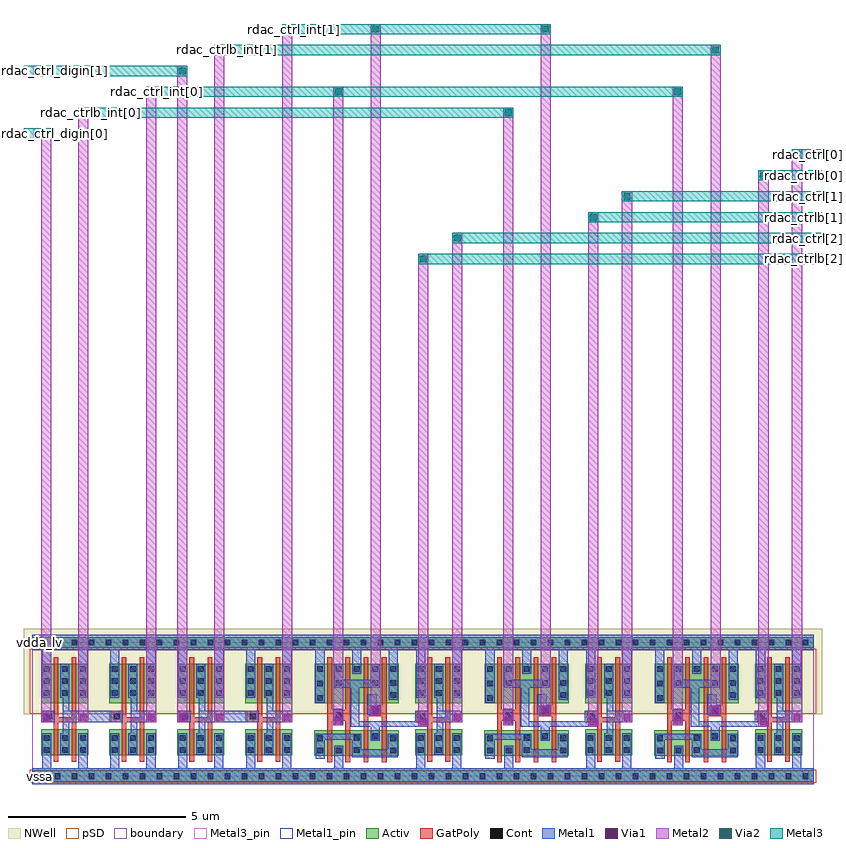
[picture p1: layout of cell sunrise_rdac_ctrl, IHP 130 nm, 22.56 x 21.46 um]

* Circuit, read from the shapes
.subckt sunrise_rdac_ctrl rdac_ctrl[0] rdac_ctrl[1] rdac_ctrl[2] rdac_ctrl_digin[0] rdac_ctrl_digin[1] rdac_ctrl_int[0] rdac_ctrl_int[1] rdac_ctrlb[0] rdac_ctrlb[1] rdac_ctrlb[2] rdac_ctrlb_int[0] rdac_ctrlb_int[1] vdda_lv vssa
XM1 rdac_ctrlb_int[0] rdac_ctrl_digin[0] vssa vssa sg13_lv_nmos w=0.74u l=0.13u m=2
XM2 rdac_ctrl_int[0] rdac_ctrlb_int[0] vssa vssa sg13_lv_nmos w=0.74u l=0.13u m=2
XM3 rdac_ctrlb_int[1] rdac_ctrl_digin[1] vssa vssa sg13_lv_nmos w=0.74u l=0.13u m=2
XM4 rdac_ctrl_int[1] rdac_ctrlb_int[1] vssa vssa sg13_lv_nmos w=0.74u l=0.13u m=2
XM5 vssa rdac_ctrl_int[0] n1 vssa sg13_lv_nmos w=0.72u l=0.13u m=2
XM6 rdac_ctrlb[2] rdac_ctrl_int[1] n1 vssa sg13_lv_nmos w=0.72u l=0.13u m=2
XM7 rdac_ctrl[2] rdac_ctrlb[2] vssa vssa sg13_lv_nmos w=0.74u l=0.13u m=2
XM8 vssa rdac_ctrlb_int[0] n2 vssa sg13_lv_nmos w=0.72u l=0.13u m=2
XM9 rdac_ctrlb[1] rdac_ctrl_int[1] n2 vssa sg13_lv_nmos w=0.72u l=0.13u m=2
XM10 rdac_ctrl[1] rdac_ctrlb[1] vssa vssa sg13_lv_nmos w=0.74u l=0.13u m=2
XM11 vssa rdac_ctrl_int[0] n3 vssa sg13_lv_nmos w=0.72u l=0.13u m=2
XM12 rdac_ctrlb[0] rdac_ctrlb_int[1] n3 vssa sg13_lv_nmos w=0.72u l=0.13u m=2
XM13 rdac_ctrl[0] rdac_ctrlb[0] vssa vssa sg13_lv_nmos w=0.74u l=0.13u m=2
XM14 rdac_ctrlb_int[0] rdac_ctrl_digin[0] vdda_lv vdda_lv sg13_lv_pmos w=1.12u l=0.13u m=2
XM15 rdac_ctrl_int[0] rdac_ctrlb_int[0] vdda_lv vdda_lv sg13_lv_pmos w=1.12u l=0.13u m=2
XM16 rdac_ctrlb_int[1] rdac_ctrl_digin[1] vdda_lv vdda_lv sg13_lv_pmos w=1.12u l=0.13u m=2
XM17 rdac_ctrl_int[1] rdac_ctrlb_int[1] vdda_lv vdda_lv sg13_lv_pmos w=1.12u l=0.13u m=2
XM18 rdac_ctrlb[2] rdac_ctrl_int[0] vdda_lv vdda_lv sg13_lv_pmos w=1.12u l=0.13u m=2
XM19 rdac_ctrlb[2] rdac_ctrl_int[1] vdda_lv vdda_lv sg13_lv_pmos w=1.12u l=0.13u m=2
XM20 rdac_ctrl[2] rdac_ctrlb[2] vdda_lv vdda_lv sg13_lv_pmos w=1.12u l=0.13u m=2
XM21 rdac_ctrlb[1] rdac_ctrlb_int[0] vdda_lv vdda_lv sg13_lv_pmos w=1.12u l=0.13u m=2
XM22 rdac_ctrlb[1] rdac_ctrl_int[1] vdda_lv vdda_lv sg13_lv_pmos w=1.12u l=0.13u m=2
XM23 rdac_ctrl[1] rdac_ctrlb[1] vdda_lv vdda_lv sg13_lv_pmos w=1.12u l=0.13u m=2
XM24 rdac_ctrlb[0] rdac_ctrl_int[0] vdda_lv vdda_lv sg13_lv_pmos w=1.12u l=0.13u m=2
XM25 rdac_ctrlb[0] rdac_ctrlb_int[1] vdda_lv vdda_lv sg13_lv_pmos w=1.12u l=0.13u m=2
XM26 rdac_ctrl[0] rdac_ctrlb[0] vdda_lv vdda_lv sg13_lv_pmos w=1.12u l=0.13u m=2
.ends

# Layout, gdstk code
from math import pi, radians
import gdstk
lib = gdstk.Library(unit=1e-6, precision=1e-09)
def R(c, l, rs):  # rectangles x0, y0, x1, y1
    for r in rs: c.add(gdstk.rectangle(r[:2], r[2:], *l))
def A(c, l, x, y, w, h, nx, ny, dx, dy):  # array of equal rectangles
    R(c, l, [(x+i*dx, y+j*dy, x+i*dx+w, y+j*dy+h) for i in range(nx) for j in range(ny)])
def P(c, l, *ps):  # polygons
    for p in ps: c.add(gdstk.Polygon(p, *l))
Activ = (1, 0)
GatPoly = (5, 0)
Cont = (6, 0)
Metal1 = (8, 0)
Metal1_pin = (8, 2)
Metal2 = (10, 0)
pSD = (14, 0)
Via1 = (19, 0)
Via2 = (29, 0)
Metal3 = (30, 0)
Metal3_pin = (30, 2)
NWell = (31, 0)
boundary = (189, 4)

sg13cmos5l_inv_2_7 = lib.new_cell('sg13cmos5l_inv_2$7')
R(sg13cmos5l_inv_2_7, Activ, [(0,-0.15,1.92,0.15), (0.265,0.59,1.585,1.33), (0.265,2.06,1.59,3.18), (0,3.63,1.92,3.93)])
P(sg13cmos5l_inv_2_7, GatPoly, [(0.605,0.41),(0.605,1.52),(0.305,1.52),(0.305,1.85),(0.605,1.85),(0.605,3.36),(0.735,3.36),(0.735,1.67),(1.115,1.67),(1.115,3.36),(1.245,3.36),(1.245,0.41),(1.115,0.41),(1.115,1.52),(0.735,1.52),(0.735,0.41)])
A(sg13cmos5l_inv_2_7, Cont, 0.335, 0.66, 0.16, 0.16, 3, 2, 0.51, 0.34)
A(sg13cmos5l_inv_2_7, Cont, 0.335, 2.27, 0.16, 0.16, 1, 3, 0, 0.34)
A(sg13cmos5l_inv_2_7, Cont, 0.845, 2.27, 0.16, 0.16, 1, 3, 0, 0.34)
A(sg13cmos5l_inv_2_7, Cont, 1.36, 2.27, 0.16, 0.16, 1, 3, 0, 0.34)
R(sg13cmos5l_inv_2_7, Cont, [(0.16,-0.08,0.32,0.08), (0.16,-0.08,0.32,0.08), (0.64,-0.08,0.8,0.08), (0.64,-0.08,0.8,0.08), (1.12,-0.08,1.28,0.08), (1.12,-0.08,1.28,0.08), (1.6,-0.08,1.76,0.08), (1.6,-0.08,1.76,0.08), (0.39,1.605,0.55,1.765), (0.16,3.7,0.32,3.86), (0.16,3.7,0.32,3.86), (0.64,3.7,0.8,3.86), (0.64,3.7,0.8,3.86), (1.12,3.7,1.28,3.86), (1.12,3.7,1.28,3.86), (1.6,3.7,1.76,3.86), (1.6,3.7,1.76,3.86)])
R(sg13cmos5l_inv_2_7, Metal1, [(0.255,1.52,0.635,1.85)])
P(sg13cmos5l_inv_2_7, Metal1, [(0.285,2.22),(0.285,3.56),(0,3.56),(0,4),(1.92,4),(1.92,3.56),(1.57,3.56),(1.57,2.22),(1.31,2.22),(1.31,3.56),(0.545,3.56),(0.545,2.22)],
  [(0,-0.22),(0,0.22),(0.285,0.22),(0.285,1.21),(0.545,1.21),(0.545,0.22),(1.305,0.22),(1.305,1.21),(1.565,1.21),(1.565,0.22),(1.92,0.22),(1.92,-0.22)],
  [(0.795,0.61),(0.795,1.21),(0.87,1.21),(0.87,2.22),(0.795,2.22),(0.795,3.18),(1.055,3.18),(1.055,1.85),(1.59,1.85),(1.59,1.52),(1.055,1.52),(1.055,0.61)])
R(sg13cmos5l_inv_2_7, Metal1_pin, [(0,-0.22,1.92,0.22), (0.255,1.52,0.635,1.85), (0.87,1.52,1.59,1.85), (0,3.56,1.92,4)])
R(sg13cmos5l_inv_2_7, pSD, [(-0.07,-0.18,1.99,0.18), (-0.07,1.76,1.99,3.6)])
R(sg13cmos5l_inv_2_7, NWell, [(-0.24,1.75,2.16,4.17)])
R(sg13cmos5l_inv_2_7, boundary, [(0,0,1.92,3.78)])
sg13cmos5l_inv_2_7.add(gdstk.Label('VSS', (0.89,0), layer=8, texttype=25))
sg13cmos5l_inv_2_7.add(gdstk.Label('VDD', (0.935,3.785), layer=8, texttype=25))
sg13cmos5l_inv_2_7.add(gdstk.Label('Y', (1.44,1.68), layer=8, texttype=25))
sg13cmos5l_inv_2_7.add(gdstk.Label('A', (0.48,1.68), layer=8, texttype=25))

via_stack_2 = lib.new_cell('via_stack$2')
R(via_stack_2, Metal1, [(-0.145,-0.145,0.145,0.145)])
R(via_stack_2, Metal2, [(-0.145,-0.145,0.145,0.145)])
R(via_stack_2, Via1, [(-0.095,-0.095,0.095,0.095)])

sg13cmos5l_inv_2_1_2 = lib.new_cell('sg13cmos5l_inv_2$1$2')
R(sg13cmos5l_inv_2_1_2, Activ, [(0,-0.15,1.92,0.15), (0.265,0.59,1.585,1.33), (0.265,2.06,1.59,3.18), (0,3.63,1.92,3.93)])
P(sg13cmos5l_inv_2_1_2, GatPoly, [(0.605,0.41),(0.605,1.52),(0.305,1.52),(0.305,1.85),(0.605,1.85),(0.605,3.36),(0.735,3.36),(0.735,1.67),(1.115,1.67),(1.115,3.36),(1.245,3.36),(1.245,0.41),(1.115,0.41),(1.115,1.52),(0.735,1.52),(0.735,0.41)])
A(sg13cmos5l_inv_2_1_2, Cont, 0.335, 0.66, 0.16, 0.16, 3, 2, 0.51, 0.34)
A(sg13cmos5l_inv_2_1_2, Cont, 0.335, 2.27, 0.16, 0.16, 1, 3, 0, 0.34)
A(sg13cmos5l_inv_2_1_2, Cont, 0.845, 2.27, 0.16, 0.16, 1, 3, 0, 0.34)
A(sg13cmos5l_inv_2_1_2, Cont, 1.36, 2.27, 0.16, 0.16, 1, 3, 0, 0.34)
R(sg13cmos5l_inv_2_1_2, Cont, [(0.16,-0.08,0.32,0.08), (0.16,-0.08,0.32,0.08), (0.64,-0.08,0.8,0.08), (0.64,-0.08,0.8,0.08), (1.12,-0.08,1.28,0.08), (1.12,-0.08,1.28,0.08), (1.6,-0.08,1.76,0.08), (1.6,-0.08,1.76,0.08), (0.39,1.605,0.55,1.765), (0.16,3.7,0.32,3.86), (0.16,3.7,0.32,3.86), (0.64,3.7,0.8,3.86), (0.64,3.7,0.8,3.86), (1.12,3.7,1.28,3.86), (1.12,3.7,1.28,3.86), (1.6,3.7,1.76,3.86), (1.6,3.7,1.76,3.86)])
R(sg13cmos5l_inv_2_1_2, Metal1, [(0.255,1.52,0.635,1.85)])
P(sg13cmos5l_inv_2_1_2, Metal1, [(0.285,2.22),(0.285,3.56),(0,3.56),(0,4),(1.92,4),(1.92,3.56),(1.57,3.56),(1.57,2.22),(1.31,2.22),(1.31,3.56),(0.545,3.56),(0.545,2.22)],
  [(0,-0.22),(0,0.22),(0.285,0.22),(0.285,1.21),(0.545,1.21),(0.545,0.22),(1.305,0.22),(1.305,1.21),(1.565,1.21),(1.565,0.22),(1.92,0.22),(1.92,-0.22)],
  [(0.795,0.61),(0.795,1.21),(0.87,1.21),(0.87,2.22),(0.795,2.22),(0.795,3.18),(1.055,3.18),(1.055,1.85),(1.59,1.85),(1.59,1.52),(1.055,1.52),(1.055,0.61)])
R(sg13cmos5l_inv_2_1_2, Metal1_pin, [(0,-0.22,1.92,0.22), (0.255,1.52,0.635,1.85), (0.87,1.52,1.59,1.85), (0,3.56,1.92,4)])
R(sg13cmos5l_inv_2_1_2, pSD, [(-0.07,-0.18,1.99,0.18), (-0.07,1.76,1.99,3.6)])
R(sg13cmos5l_inv_2_1_2, NWell, [(-0.24,1.75,2.16,4.17)])
R(sg13cmos5l_inv_2_1_2, boundary, [(0,0,1.92,3.78)])
sg13cmos5l_inv_2_1_2.add(gdstk.Label('VSS', (0.89,0), layer=8, texttype=25))
sg13cmos5l_inv_2_1_2.add(gdstk.Label('VDD', (0.935,3.785), layer=8, texttype=25))
sg13cmos5l_inv_2_1_2.add(gdstk.Label('Y', (1.44,1.68), layer=8, texttype=25))
sg13cmos5l_inv_2_1_2.add(gdstk.Label('A', (0.48,1.68), layer=8, texttype=25))

sg13cmos5l_inv_2_5 = lib.new_cell('sg13cmos5l_inv_2$5')
R(sg13cmos5l_inv_2_5, Activ, [(0,-0.15,1.92,0.15), (0.265,0.59,1.585,1.33), (0.265,2.06,1.59,3.18), (0,3.63,1.92,3.93)])
P(sg13cmos5l_inv_2_5, GatPoly, [(0.605,0.41),(0.605,1.52),(0.305,1.52),(0.305,1.85),(0.605,1.85),(0.605,3.36),(0.735,3.36),(0.735,1.67),(1.115,1.67),(1.115,3.36),(1.245,3.36),(1.245,0.41),(1.115,0.41),(1.115,1.52),(0.735,1.52),(0.735,0.41)])
A(sg13cmos5l_inv_2_5, Cont, 0.335, 0.66, 0.16, 0.16, 3, 2, 0.51, 0.34)
A(sg13cmos5l_inv_2_5, Cont, 0.335, 2.27, 0.16, 0.16, 1, 3, 0, 0.34)
A(sg13cmos5l_inv_2_5, Cont, 0.845, 2.27, 0.16, 0.16, 1, 3, 0, 0.34)
A(sg13cmos5l_inv_2_5, Cont, 1.36, 2.27, 0.16, 0.16, 1, 3, 0, 0.34)
R(sg13cmos5l_inv_2_5, Cont, [(0.16,-0.08,0.32,0.08), (0.16,-0.08,0.32,0.08), (0.64,-0.08,0.8,0.08), (0.64,-0.08,0.8,0.08), (1.12,-0.08,1.28,0.08), (1.12,-0.08,1.28,0.08), (1.6,-0.08,1.76,0.08), (1.6,-0.08,1.76,0.08), (0.39,1.605,0.55,1.765), (0.16,3.7,0.32,3.86), (0.16,3.7,0.32,3.86), (0.64,3.7,0.8,3.86), (0.64,3.7,0.8,3.86), (1.12,3.7,1.28,3.86), (1.12,3.7,1.28,3.86), (1.6,3.7,1.76,3.86), (1.6,3.7,1.76,3.86)])
R(sg13cmos5l_inv_2_5, Metal1, [(0.255,1.52,0.635,1.85)])
P(sg13cmos5l_inv_2_5, Metal1, [(0.285,2.22),(0.285,3.56),(0,3.56),(0,4),(1.92,4),(1.92,3.56),(1.57,3.56),(1.57,2.22),(1.31,2.22),(1.31,3.56),(0.545,3.56),(0.545,2.22)],
  [(0,-0.22),(0,0.22),(0.285,0.22),(0.285,1.21),(0.545,1.21),(0.545,0.22),(1.305,0.22),(1.305,1.21),(1.565,1.21),(1.565,0.22),(1.92,0.22),(1.92,-0.22)],
  [(0.795,0.61),(0.795,1.21),(0.87,1.21),(0.87,2.22),(0.795,2.22),(0.795,3.18),(1.055,3.18),(1.055,1.85),(1.59,1.85),(1.59,1.52),(1.055,1.52),(1.055,0.61)])
R(sg13cmos5l_inv_2_5, Metal1_pin, [(0,-0.22,1.92,0.22), (0.255,1.52,0.635,1.85), (0.87,1.52,1.59,1.85), (0,3.56,1.92,4)])
R(sg13cmos5l_inv_2_5, pSD, [(-0.07,-0.18,1.99,0.18), (-0.07,1.76,1.99,3.6)])
R(sg13cmos5l_inv_2_5, NWell, [(-0.24,1.75,2.16,4.17)])
R(sg13cmos5l_inv_2_5, boundary, [(0,0,1.92,3.78)])
sg13cmos5l_inv_2_5.add(gdstk.Label('VSS', (0.89,0), layer=8, texttype=25))
sg13cmos5l_inv_2_5.add(gdstk.Label('VDD', (0.935,3.785), layer=8, texttype=25))
sg13cmos5l_inv_2_5.add(gdstk.Label('Y', (1.44,1.68), layer=8, texttype=25))
sg13cmos5l_inv_2_5.add(gdstk.Label('A', (0.48,1.68), layer=8, texttype=25))

sg13cmos5l_inv_2_2_1 = lib.new_cell('sg13cmos5l_inv_2$2$1')
R(sg13cmos5l_inv_2_2_1, Activ, [(0,-0.15,1.92,0.15), (0.265,0.59,1.585,1.33), (0.265,2.06,1.59,3.18), (0,3.63,1.92,3.93)])
P(sg13cmos5l_inv_2_2_1, GatPoly, [(0.605,0.41),(0.605,1.52),(0.305,1.52),(0.305,1.85),(0.605,1.85),(0.605,3.36),(0.735,3.36),(0.735,1.67),(1.115,1.67),(1.115,3.36),(1.245,3.36),(1.245,0.41),(1.115,0.41),(1.115,1.52),(0.735,1.52),(0.735,0.41)])
A(sg13cmos5l_inv_2_2_1, Cont, 0.335, 0.66, 0.16, 0.16, 3, 2, 0.51, 0.34)
A(sg13cmos5l_inv_2_2_1, Cont, 0.335, 2.27, 0.16, 0.16, 1, 3, 0, 0.34)
A(sg13cmos5l_inv_2_2_1, Cont, 0.845, 2.27, 0.16, 0.16, 1, 3, 0, 0.34)
A(sg13cmos5l_inv_2_2_1, Cont, 1.36, 2.27, 0.16, 0.16, 1, 3, 0, 0.34)
R(sg13cmos5l_inv_2_2_1, Cont, [(0.16,-0.08,0.32,0.08), (0.16,-0.08,0.32,0.08), (0.64,-0.08,0.8,0.08), (0.64,-0.08,0.8,0.08), (1.12,-0.08,1.28,0.08), (1.12,-0.08,1.28,0.08), (1.6,-0.08,1.76,0.08), (1.6,-0.08,1.76,0.08), (0.39,1.605,0.55,1.765), (0.16,3.7,0.32,3.86), (0.16,3.7,0.32,3.86), (0.64,3.7,0.8,3.86), (0.64,3.7,0.8,3.86), (1.12,3.7,1.28,3.86), (1.12,3.7,1.28,3.86), (1.6,3.7,1.76,3.86), (1.6,3.7,1.76,3.86)])
R(sg13cmos5l_inv_2_2_1, Metal1, [(0.255,1.52,0.635,1.85)])
P(sg13cmos5l_inv_2_2_1, Metal1, [(0.285,2.22),(0.285,3.56),(0,3.56),(0,4),(1.92,4),(1.92,3.56),(1.57,3.56),(1.57,2.22),(1.31,2.22),(1.31,3.56),(0.545,3.56),(0.545,2.22)],
  [(0,-0.22),(0,0.22),(0.285,0.22),(0.285,1.21),(0.545,1.21),(0.545,0.22),(1.305,0.22),(1.305,1.21),(1.565,1.21),(1.565,0.22),(1.92,0.22),(1.92,-0.22)],
  [(0.795,0.61),(0.795,1.21),(0.87,1.21),(0.87,2.22),(0.795,2.22),(0.795,3.18),(1.055,3.18),(1.055,1.85),(1.59,1.85),(1.59,1.52),(1.055,1.52),(1.055,0.61)])
R(sg13cmos5l_inv_2_2_1, Metal1_pin, [(0,-0.22,1.92,0.22), (0.255,1.52,0.635,1.85), (0.87,1.52,1.59,1.85), (0,3.56,1.92,4)])
R(sg13cmos5l_inv_2_2_1, pSD, [(-0.07,-0.18,1.99,0.18), (-0.07,1.76,1.99,3.6)])
R(sg13cmos5l_inv_2_2_1, NWell, [(-0.24,1.75,2.16,4.17)])
R(sg13cmos5l_inv_2_2_1, boundary, [(0,0,1.92,3.78)])
sg13cmos5l_inv_2_2_1.add(gdstk.Label('VSS', (0.89,0), layer=8, texttype=25))
sg13cmos5l_inv_2_2_1.add(gdstk.Label('VDD', (0.935,3.785), layer=8, texttype=25))
sg13cmos5l_inv_2_2_1.add(gdstk.Label('Y', (1.44,1.68), layer=8, texttype=25))
sg13cmos5l_inv_2_2_1.add(gdstk.Label('A', (0.48,1.68), layer=8, texttype=25))

sg13cmos5l_inv_2_3_1 = lib.new_cell('sg13cmos5l_inv_2$3$1')
R(sg13cmos5l_inv_2_3_1, Activ, [(0,-0.15,1.92,0.15), (0.265,0.59,1.585,1.33), (0.265,2.06,1.59,3.18), (0,3.63,1.92,3.93)])
P(sg13cmos5l_inv_2_3_1, GatPoly, [(0.605,0.41),(0.605,1.52),(0.305,1.52),(0.305,1.85),(0.605,1.85),(0.605,3.36),(0.735,3.36),(0.735,1.67),(1.115,1.67),(1.115,3.36),(1.245,3.36),(1.245,0.41),(1.115,0.41),(1.115,1.52),(0.735,1.52),(0.735,0.41)])
A(sg13cmos5l_inv_2_3_1, Cont, 0.335, 0.66, 0.16, 0.16, 3, 2, 0.51, 0.34)
A(sg13cmos5l_inv_2_3_1, Cont, 0.335, 2.27, 0.16, 0.16, 1, 3, 0, 0.34)
A(sg13cmos5l_inv_2_3_1, Cont, 0.845, 2.27, 0.16, 0.16, 1, 3, 0, 0.34)
A(sg13cmos5l_inv_2_3_1, Cont, 1.36, 2.27, 0.16, 0.16, 1, 3, 0, 0.34)
R(sg13cmos5l_inv_2_3_1, Cont, [(0.16,-0.08,0.32,0.08), (0.16,-0.08,0.32,0.08), (0.64,-0.08,0.8,0.08), (0.64,-0.08,0.8,0.08), (1.12,-0.08,1.28,0.08), (1.12,-0.08,1.28,0.08), (1.6,-0.08,1.76,0.08), (1.6,-0.08,1.76,0.08), (0.39,1.605,0.55,1.765), (0.16,3.7,0.32,3.86), (0.16,3.7,0.32,3.86), (0.64,3.7,0.8,3.86), (0.64,3.7,0.8,3.86), (1.12,3.7,1.28,3.86), (1.12,3.7,1.28,3.86), (1.6,3.7,1.76,3.86), (1.6,3.7,1.76,3.86)])
R(sg13cmos5l_inv_2_3_1, Metal1, [(0.255,1.52,0.635,1.85)])
P(sg13cmos5l_inv_2_3_1, Metal1, [(0.285,2.22),(0.285,3.56),(0,3.56),(0,4),(1.92,4),(1.92,3.56),(1.57,3.56),(1.57,2.22),(1.31,2.22),(1.31,3.56),(0.545,3.56),(0.545,2.22)],
  [(0,-0.22),(0,0.22),(0.285,0.22),(0.285,1.21),(0.545,1.21),(0.545,0.22),(1.305,0.22),(1.305,1.21),(1.565,1.21),(1.565,0.22),(1.92,0.22),(1.92,-0.22)],
  [(0.795,0.61),(0.795,1.21),(0.87,1.21),(0.87,2.22),(0.795,2.22),(0.795,3.18),(1.055,3.18),(1.055,1.85),(1.59,1.85),(1.59,1.52),(1.055,1.52),(1.055,0.61)])
R(sg13cmos5l_inv_2_3_1, Metal1_pin, [(0,-0.22,1.92,0.22), (0.255,1.52,0.635,1.85), (0.87,1.52,1.59,1.85), (0,3.56,1.92,4)])
R(sg13cmos5l_inv_2_3_1, pSD, [(-0.07,-0.18,1.99,0.18), (-0.07,1.76,1.99,3.6)])
R(sg13cmos5l_inv_2_3_1, NWell, [(-0.24,1.75,2.16,4.17)])
R(sg13cmos5l_inv_2_3_1, boundary, [(0,0,1.92,3.78)])
sg13cmos5l_inv_2_3_1.add(gdstk.Label('VSS', (0.89,0), layer=8, texttype=25))
sg13cmos5l_inv_2_3_1.add(gdstk.Label('VDD', (0.935,3.785), layer=8, texttype=25))
sg13cmos5l_inv_2_3_1.add(gdstk.Label('Y', (1.44,1.68), layer=8, texttype=25))
sg13cmos5l_inv_2_3_1.add(gdstk.Label('A', (0.48,1.68), layer=8, texttype=25))

sg13cmos5l_nand2_2_3 = lib.new_cell('sg13cmos5l_nand2_2$3')
R(sg13cmos5l_nand2_2_3, Activ, [(0,-0.15,2.88,0.15), (0.285,0.575,2.67,1.295), (0.3,2.06,2.68,3.18), (0,3.63,2.88,3.93)])
P(sg13cmos5l_nand2_2_3, GatPoly, [(0.66,0.395),(0.66,3.36),(0.79,3.36),(0.79,1.875),(1.17,1.875),(1.17,3.36),(1.3,3.36),(1.3,0.395),(1.17,0.395),(1.17,1.565),(0.79,1.565),(0.79,0.395)],
  [(1.69,0.395),(1.69,3.36),(1.82,3.36),(1.82,1.99),(2.2,1.99),(2.2,3.36),(2.33,3.36),(2.33,0.395),(2.2,0.395),(2.2,1.69),(1.82,1.69),(1.82,0.395)])
A(sg13cmos5l_nand2_2_3, Cont, 1.6, -0.08, 0.16, 0.16, 3, 2, 0.48, 3.78)
A(sg13cmos5l_nand2_2_3, Cont, 0.37, 2.13, 0.16, 0.16, 1, 3, 0, 0.41)
R(sg13cmos5l_nand2_2_3, Cont, [(0.16,-0.08,0.32,0.08), (0.16,-0.08,0.32,0.08), (0.64,-0.08,0.8,0.08), (0.64,-0.08,0.8,0.08), (1.12,-0.08,1.28,0.08), (1.12,-0.08,1.28,0.08), (1.6,-0.08,1.76,0.08), (0.9,0.645,1.06,0.805), (0.38,0.65,0.54,0.81), (2.44,0.65,2.6,0.81), (1.41,0.66,1.57,0.82), (0.375,0.99,0.535,1.15), (2.44,0.99,2.6,1.15), (1.41,1.005,1.57,1.165), (1.93,1.05,2.09,1.21), (0.9,1.64,1.06,1.8), (1.93,1.76,2.09,1.92), (2.44,2.21,2.6,2.37), (0.9,2.55,1.06,2.71), (1.93,2.55,2.09,2.71), (2.44,2.55,2.6,2.71), (0.9,2.95,1.06,3.11), (1.41,2.95,1.57,3.11), (1.93,2.95,2.09,3.11), (2.44,2.95,2.6,3.11), (0.16,3.7,0.32,3.86), (0.16,3.7,0.32,3.86), (0.64,3.7,0.8,3.86), (0.64,3.7,0.8,3.86), (1.12,3.7,1.28,3.86), (1.12,3.7,1.28,3.86), (1.6,3.7,1.76,3.86)])
R(sg13cmos5l_nand2_2_3, Metal1, [(0.82,1.435,1.1,1.9)])
P(sg13cmos5l_nand2_2_3, Metal1, [(0.32,2.08),(0.32,3.56),(0,3.56),(0,4),(2.88,4),(2.88,3.56),(2.65,3.56),(2.65,2.16),(2.39,2.16),(2.39,3.56),(1.62,3.56),(1.62,2.9),(1.36,2.9),(1.36,3.56),(0.58,3.56),(0.58,2.08)],
  [(1.79,1.73),(1.79,2.32),(2.05,2.32),(2.05,1.98),(2.17,1.98),(2.17,1.73)],
  [(1.88,1),(1.88,1.39),(1.32,1.39),(1.32,2.5),(0.85,2.5),(0.85,3.16),(1.11,3.16),(1.11,2.72),(1.88,2.72),(1.88,3.16),(2.14,3.16),(2.14,2.5),(1.56,2.5),(1.56,1.55),(2.14,1.55),(2.14,1)],
  [(0.325,0.5),(0.325,1.2),(1.62,1.2),(1.62,0.76),(2.37,0.76),(2.37,1.2),(2.65,1.2),(2.65,0.53),(1.35,0.53),(1.35,1.035),(0.585,1.035),(0.585,0.5)],
  [(0,-0.22),(0,0.22),(0.85,0.22),(0.85,0.855),(1.11,0.855),(1.11,0.22),(2.88,0.22),(2.88,-0.22)])
R(sg13cmos5l_nand2_2_3, Metal1_pin, [(0,-0.22,2.88,0.22), (1.32,1.39,1.56,2.36), (0.82,1.435,1.1,1.9), (1.79,1.73,2.05,2.32), (0,3.56,2.88,4)])
R(sg13cmos5l_nand2_2_3, pSD, [(-0.07,-0.18,2.95,0.18), (-0.07,1.76,2.95,3.6)])
R(sg13cmos5l_nand2_2_3, NWell, [(-0.24,1.75,3.12,4.17)])
R(sg13cmos5l_nand2_2_3, boundary, [(0,0,2.88,3.78)])
sg13cmos5l_nand2_2_3.add(gdstk.Label('Y', (1.44,2.1), layer=8, texttype=25))
sg13cmos5l_nand2_2_3.add(gdstk.Label('VDD', (1.37,3.78), layer=8, texttype=25))
sg13cmos5l_nand2_2_3.add(gdstk.Label('A', (1.92,2.1), layer=8, texttype=25))
sg13cmos5l_nand2_2_3.add(gdstk.Label('VSS', (1.445,-0.02), layer=8, texttype=25))
sg13cmos5l_nand2_2_3.add(gdstk.Label('B', (0.98,1.655), layer=8, texttype=25))

sg13cmos5l_inv_2_4 = lib.new_cell('sg13cmos5l_inv_2$4')
R(sg13cmos5l_inv_2_4, Activ, [(0,-0.15,1.92,0.15), (0.265,0.59,1.585,1.33), (0.265,2.06,1.59,3.18), (0,3.63,1.92,3.93)])
P(sg13cmos5l_inv_2_4, GatPoly, [(0.605,0.41),(0.605,1.52),(0.305,1.52),(0.305,1.85),(0.605,1.85),(0.605,3.36),(0.735,3.36),(0.735,1.67),(1.115,1.67),(1.115,3.36),(1.245,3.36),(1.245,0.41),(1.115,0.41),(1.115,1.52),(0.735,1.52),(0.735,0.41)])
A(sg13cmos5l_inv_2_4, Cont, 0.335, 0.66, 0.16, 0.16, 3, 2, 0.51, 0.34)
A(sg13cmos5l_inv_2_4, Cont, 0.335, 2.27, 0.16, 0.16, 1, 3, 0, 0.34)
A(sg13cmos5l_inv_2_4, Cont, 0.845, 2.27, 0.16, 0.16, 1, 3, 0, 0.34)
A(sg13cmos5l_inv_2_4, Cont, 1.36, 2.27, 0.16, 0.16, 1, 3, 0, 0.34)
R(sg13cmos5l_inv_2_4, Cont, [(0.16,-0.08,0.32,0.08), (0.16,-0.08,0.32,0.08), (0.64,-0.08,0.8,0.08), (0.64,-0.08,0.8,0.08), (1.12,-0.08,1.28,0.08), (1.12,-0.08,1.28,0.08), (1.6,-0.08,1.76,0.08), (1.6,-0.08,1.76,0.08), (0.39,1.605,0.55,1.765), (0.16,3.7,0.32,3.86), (0.16,3.7,0.32,3.86), (0.64,3.7,0.8,3.86), (0.64,3.7,0.8,3.86), (1.12,3.7,1.28,3.86), (1.12,3.7,1.28,3.86), (1.6,3.7,1.76,3.86), (1.6,3.7,1.76,3.86)])
R(sg13cmos5l_inv_2_4, Metal1, [(0.255,1.52,0.635,1.85)])
P(sg13cmos5l_inv_2_4, Metal1, [(0.285,2.22),(0.285,3.56),(0,3.56),(0,4),(1.92,4),(1.92,3.56),(1.57,3.56),(1.57,2.22),(1.31,2.22),(1.31,3.56),(0.545,3.56),(0.545,2.22)],
  [(0,-0.22),(0,0.22),(0.285,0.22),(0.285,1.21),(0.545,1.21),(0.545,0.22),(1.305,0.22),(1.305,1.21),(1.565,1.21),(1.565,0.22),(1.92,0.22),(1.92,-0.22)],
  [(0.795,0.61),(0.795,1.21),(0.87,1.21),(0.87,2.22),(0.795,2.22),(0.795,3.18),(1.055,3.18),(1.055,1.85),(1.59,1.85),(1.59,1.52),(1.055,1.52),(1.055,0.61)])
R(sg13cmos5l_inv_2_4, Metal1_pin, [(0,-0.22,1.92,0.22), (0.255,1.52,0.635,1.85), (0.87,1.52,1.59,1.85), (0,3.56,1.92,4)])
R(sg13cmos5l_inv_2_4, pSD, [(-0.07,-0.18,1.99,0.18), (-0.07,1.76,1.99,3.6)])
R(sg13cmos5l_inv_2_4, NWell, [(-0.24,1.75,2.16,4.17)])
R(sg13cmos5l_inv_2_4, boundary, [(0,0,1.92,3.78)])
sg13cmos5l_inv_2_4.add(gdstk.Label('VSS', (0.89,0), layer=8, texttype=25))
sg13cmos5l_inv_2_4.add(gdstk.Label('VDD', (0.935,3.785), layer=8, texttype=25))
sg13cmos5l_inv_2_4.add(gdstk.Label('Y', (1.44,1.68), layer=8, texttype=25))
sg13cmos5l_inv_2_4.add(gdstk.Label('A', (0.48,1.68), layer=8, texttype=25))

sg13cmos5l_nand2_2_1_1 = lib.new_cell('sg13cmos5l_nand2_2$1$1')
R(sg13cmos5l_nand2_2_1_1, Activ, [(0,-0.15,2.88,0.15), (0.285,0.575,2.67,1.295), (0.3,2.06,2.68,3.18), (0,3.63,2.88,3.93)])
P(sg13cmos5l_nand2_2_1_1, GatPoly, [(0.66,0.395),(0.66,3.36),(0.79,3.36),(0.79,1.875),(1.17,1.875),(1.17,3.36),(1.3,3.36),(1.3,0.395),(1.17,0.395),(1.17,1.565),(0.79,1.565),(0.79,0.395)],
  [(1.69,0.395),(1.69,3.36),(1.82,3.36),(1.82,1.99),(2.2,1.99),(2.2,3.36),(2.33,3.36),(2.33,0.395),(2.2,0.395),(2.2,1.69),(1.82,1.69),(1.82,0.395)])
A(sg13cmos5l_nand2_2_1_1, Cont, 1.6, -0.08, 0.16, 0.16, 3, 2, 0.48, 3.78)
A(sg13cmos5l_nand2_2_1_1, Cont, 0.37, 2.13, 0.16, 0.16, 1, 3, 0, 0.41)
R(sg13cmos5l_nand2_2_1_1, Cont, [(0.16,-0.08,0.32,0.08), (0.16,-0.08,0.32,0.08), (0.64,-0.08,0.8,0.08), (0.64,-0.08,0.8,0.08), (1.12,-0.08,1.28,0.08), (1.12,-0.08,1.28,0.08), (1.6,-0.08,1.76,0.08), (0.9,0.645,1.06,0.805), (0.38,0.65,0.54,0.81), (2.44,0.65,2.6,0.81), (1.41,0.66,1.57,0.82), (0.375,0.99,0.535,1.15), (2.44,0.99,2.6,1.15), (1.41,1.005,1.57,1.165), (1.93,1.05,2.09,1.21), (0.9,1.64,1.06,1.8), (1.93,1.76,2.09,1.92), (2.44,2.21,2.6,2.37), (0.9,2.55,1.06,2.71), (1.93,2.55,2.09,2.71), (2.44,2.55,2.6,2.71), (0.9,2.95,1.06,3.11), (1.41,2.95,1.57,3.11), (1.93,2.95,2.09,3.11), (2.44,2.95,2.6,3.11), (0.16,3.7,0.32,3.86), (0.16,3.7,0.32,3.86), (0.64,3.7,0.8,3.86), (0.64,3.7,0.8,3.86), (1.12,3.7,1.28,3.86), (1.12,3.7,1.28,3.86), (1.6,3.7,1.76,3.86)])
R(sg13cmos5l_nand2_2_1_1, Metal1, [(0.82,1.435,1.1,1.9)])
P(sg13cmos5l_nand2_2_1_1, Metal1, [(0.32,2.08),(0.32,3.56),(0,3.56),(0,4),(2.88,4),(2.88,3.56),(2.65,3.56),(2.65,2.16),(2.39,2.16),(2.39,3.56),(1.62,3.56),(1.62,2.9),(1.36,2.9),(1.36,3.56),(0.58,3.56),(0.58,2.08)],
  [(1.79,1.73),(1.79,2.32),(2.05,2.32),(2.05,1.98),(2.17,1.98),(2.17,1.73)],
  [(1.88,1),(1.88,1.39),(1.32,1.39),(1.32,2.5),(0.85,2.5),(0.85,3.16),(1.11,3.16),(1.11,2.72),(1.88,2.72),(1.88,3.16),(2.14,3.16),(2.14,2.5),(1.56,2.5),(1.56,1.55),(2.14,1.55),(2.14,1)],
  [(0.325,0.5),(0.325,1.2),(1.62,1.2),(1.62,0.76),(2.37,0.76),(2.37,1.2),(2.65,1.2),(2.65,0.53),(1.35,0.53),(1.35,1.035),(0.585,1.035),(0.585,0.5)],
  [(0,-0.22),(0,0.22),(0.85,0.22),(0.85,0.855),(1.11,0.855),(1.11,0.22),(2.88,0.22),(2.88,-0.22)])
R(sg13cmos5l_nand2_2_1_1, Metal1_pin, [(0,-0.22,2.88,0.22), (1.32,1.39,1.56,2.36), (0.82,1.435,1.1,1.9), (1.79,1.73,2.05,2.32), (0,3.56,2.88,4)])
R(sg13cmos5l_nand2_2_1_1, pSD, [(-0.07,-0.18,2.95,0.18), (-0.07,1.76,2.95,3.6)])
R(sg13cmos5l_nand2_2_1_1, NWell, [(-0.24,1.75,3.12,4.17)])
R(sg13cmos5l_nand2_2_1_1, boundary, [(0,0,2.88,3.78)])
sg13cmos5l_nand2_2_1_1.add(gdstk.Label('Y', (1.44,2.1), layer=8, texttype=25))
sg13cmos5l_nand2_2_1_1.add(gdstk.Label('VDD', (1.37,3.78), layer=8, texttype=25))
sg13cmos5l_nand2_2_1_1.add(gdstk.Label('A', (1.92,2.1), layer=8, texttype=25))
sg13cmos5l_nand2_2_1_1.add(gdstk.Label('VSS', (1.445,-0.02), layer=8, texttype=25))
sg13cmos5l_nand2_2_1_1.add(gdstk.Label('B', (0.98,1.655), layer=8, texttype=25))

sg13cmos5l_nand2_2_2 = lib.new_cell('sg13cmos5l_nand2_2$2')
R(sg13cmos5l_nand2_2_2, Activ, [(0,-0.15,2.88,0.15), (0.285,0.575,2.67,1.295), (0.3,2.06,2.68,3.18), (0,3.63,2.88,3.93)])
P(sg13cmos5l_nand2_2_2, GatPoly, [(0.66,0.395),(0.66,3.36),(0.79,3.36),(0.79,1.875),(1.17,1.875),(1.17,3.36),(1.3,3.36),(1.3,0.395),(1.17,0.395),(1.17,1.565),(0.79,1.565),(0.79,0.395)],
  [(1.69,0.395),(1.69,3.36),(1.82,3.36),(1.82,1.99),(2.2,1.99),(2.2,3.36),(2.33,3.36),(2.33,0.395),(2.2,0.395),(2.2,1.69),(1.82,1.69),(1.82,0.395)])
A(sg13cmos5l_nand2_2_2, Cont, 1.6, -0.08, 0.16, 0.16, 3, 2, 0.48, 3.78)
A(sg13cmos5l_nand2_2_2, Cont, 0.37, 2.13, 0.16, 0.16, 1, 3, 0, 0.41)
R(sg13cmos5l_nand2_2_2, Cont, [(0.16,-0.08,0.32,0.08), (0.16,-0.08,0.32,0.08), (0.64,-0.08,0.8,0.08), (0.64,-0.08,0.8,0.08), (1.12,-0.08,1.28,0.08), (1.12,-0.08,1.28,0.08), (1.6,-0.08,1.76,0.08), (0.9,0.645,1.06,0.805), (0.38,0.65,0.54,0.81), (2.44,0.65,2.6,0.81), (1.41,0.66,1.57,0.82), (0.375,0.99,0.535,1.15), (2.44,0.99,2.6,1.15), (1.41,1.005,1.57,1.165), (1.93,1.05,2.09,1.21), (0.9,1.64,1.06,1.8), (1.93,1.76,2.09,1.92), (2.44,2.21,2.6,2.37), (0.9,2.55,1.06,2.71), (1.93,2.55,2.09,2.71), (2.44,2.55,2.6,2.71), (0.9,2.95,1.06,3.11), (1.41,2.95,1.57,3.11), (1.93,2.95,2.09,3.11), (2.44,2.95,2.6,3.11), (0.16,3.7,0.32,3.86), (0.16,3.7,0.32,3.86), (0.64,3.7,0.8,3.86), (0.64,3.7,0.8,3.86), (1.12,3.7,1.28,3.86), (1.12,3.7,1.28,3.86), (1.6,3.7,1.76,3.86)])
R(sg13cmos5l_nand2_2_2, Metal1, [(0.82,1.435,1.1,1.9)])
P(sg13cmos5l_nand2_2_2, Metal1, [(0.32,2.08),(0.32,3.56),(0,3.56),(0,4),(2.88,4),(2.88,3.56),(2.65,3.56),(2.65,2.16),(2.39,2.16),(2.39,3.56),(1.62,3.56),(1.62,2.9),(1.36,2.9),(1.36,3.56),(0.58,3.56),(0.58,2.08)],
  [(1.79,1.73),(1.79,2.32),(2.05,2.32),(2.05,1.98),(2.17,1.98),(2.17,1.73)],
  [(1.88,1),(1.88,1.39),(1.32,1.39),(1.32,2.5),(0.85,2.5),(0.85,3.16),(1.11,3.16),(1.11,2.72),(1.88,2.72),(1.88,3.16),(2.14,3.16),(2.14,2.5),(1.56,2.5),(1.56,1.55),(2.14,1.55),(2.14,1)],
  [(0.325,0.5),(0.325,1.2),(1.62,1.2),(1.62,0.76),(2.37,0.76),(2.37,1.2),(2.65,1.2),(2.65,0.53),(1.35,0.53),(1.35,1.035),(0.585,1.035),(0.585,0.5)],
  [(0,-0.22),(0,0.22),(0.85,0.22),(0.85,0.855),(1.11,0.855),(1.11,0.22),(2.88,0.22),(2.88,-0.22)])
R(sg13cmos5l_nand2_2_2, Metal1_pin, [(0,-0.22,2.88,0.22), (1.32,1.39,1.56,2.36), (0.82,1.435,1.1,1.9), (1.79,1.73,2.05,2.32), (0,3.56,2.88,4)])
R(sg13cmos5l_nand2_2_2, pSD, [(-0.07,-0.18,2.95,0.18), (-0.07,1.76,2.95,3.6)])
R(sg13cmos5l_nand2_2_2, NWell, [(-0.24,1.75,3.12,4.17)])
R(sg13cmos5l_nand2_2_2, boundary, [(0,0,2.88,3.78)])
sg13cmos5l_nand2_2_2.add(gdstk.Label('Y', (1.44,2.1), layer=8, texttype=25))
sg13cmos5l_nand2_2_2.add(gdstk.Label('VDD', (1.37,3.78), layer=8, texttype=25))
sg13cmos5l_nand2_2_2.add(gdstk.Label('A', (1.92,2.1), layer=8, texttype=25))
sg13cmos5l_nand2_2_2.add(gdstk.Label('VSS', (1.445,-0.02), layer=8, texttype=25))
sg13cmos5l_nand2_2_2.add(gdstk.Label('B', (0.98,1.655), layer=8, texttype=25))

sg13cmos5l_inv_2_6 = lib.new_cell('sg13cmos5l_inv_2$6')
R(sg13cmos5l_inv_2_6, Activ, [(0,-0.15,1.92,0.15), (0.265,0.59,1.585,1.33), (0.265,2.06,1.59,3.18), (0,3.63,1.92,3.93)])
P(sg13cmos5l_inv_2_6, GatPoly, [(0.605,0.41),(0.605,1.52),(0.305,1.52),(0.305,1.85),(0.605,1.85),(0.605,3.36),(0.735,3.36),(0.735,1.67),(1.115,1.67),(1.115,3.36),(1.245,3.36),(1.245,0.41),(1.115,0.41),(1.115,1.52),(0.735,1.52),(0.735,0.41)])
A(sg13cmos5l_inv_2_6, Cont, 0.335, 0.66, 0.16, 0.16, 3, 2, 0.51, 0.34)
A(sg13cmos5l_inv_2_6, Cont, 0.335, 2.27, 0.16, 0.16, 1, 3, 0, 0.34)
A(sg13cmos5l_inv_2_6, Cont, 0.845, 2.27, 0.16, 0.16, 1, 3, 0, 0.34)
A(sg13cmos5l_inv_2_6, Cont, 1.36, 2.27, 0.16, 0.16, 1, 3, 0, 0.34)
R(sg13cmos5l_inv_2_6, Cont, [(0.16,-0.08,0.32,0.08), (0.16,-0.08,0.32,0.08), (0.64,-0.08,0.8,0.08), (0.64,-0.08,0.8,0.08), (1.12,-0.08,1.28,0.08), (1.12,-0.08,1.28,0.08), (1.6,-0.08,1.76,0.08), (1.6,-0.08,1.76,0.08), (0.39,1.605,0.55,1.765), (0.16,3.7,0.32,3.86), (0.16,3.7,0.32,3.86), (0.64,3.7,0.8,3.86), (0.64,3.7,0.8,3.86), (1.12,3.7,1.28,3.86), (1.12,3.7,1.28,3.86), (1.6,3.7,1.76,3.86), (1.6,3.7,1.76,3.86)])
R(sg13cmos5l_inv_2_6, Metal1, [(0.255,1.52,0.635,1.85)])
P(sg13cmos5l_inv_2_6, Metal1, [(0.285,2.22),(0.285,3.56),(0,3.56),(0,4),(1.92,4),(1.92,3.56),(1.57,3.56),(1.57,2.22),(1.31,2.22),(1.31,3.56),(0.545,3.56),(0.545,2.22)],
  [(0,-0.22),(0,0.22),(0.285,0.22),(0.285,1.21),(0.545,1.21),(0.545,0.22),(1.305,0.22),(1.305,1.21),(1.565,1.21),(1.565,0.22),(1.92,0.22),(1.92,-0.22)],
  [(0.795,0.61),(0.795,1.21),(0.87,1.21),(0.87,2.22),(0.795,2.22),(0.795,3.18),(1.055,3.18),(1.055,1.85),(1.59,1.85),(1.59,1.52),(1.055,1.52),(1.055,0.61)])
R(sg13cmos5l_inv_2_6, Metal1_pin, [(0,-0.22,1.92,0.22), (0.255,1.52,0.635,1.85), (0.87,1.52,1.59,1.85), (0,3.56,1.92,4)])
R(sg13cmos5l_inv_2_6, pSD, [(-0.07,-0.18,1.99,0.18), (-0.07,1.76,1.99,3.6)])
R(sg13cmos5l_inv_2_6, NWell, [(-0.24,1.75,2.16,4.17)])
R(sg13cmos5l_inv_2_6, boundary, [(0,0,1.92,3.78)])
sg13cmos5l_inv_2_6.add(gdstk.Label('VSS', (0.89,0), layer=8, texttype=25))
sg13cmos5l_inv_2_6.add(gdstk.Label('VDD', (0.935,3.785), layer=8, texttype=25))
sg13cmos5l_inv_2_6.add(gdstk.Label('Y', (1.44,1.68), layer=8, texttype=25))
sg13cmos5l_inv_2_6.add(gdstk.Label('A', (0.48,1.68), layer=8, texttype=25))

via_stack_1_1 = lib.new_cell('via_stack$1$1')
R(via_stack_1_1, Metal2, [(-0.145,-0.145,0.145,0.145)])
R(via_stack_1_1, Via2, [(-0.095,-0.095,0.095,0.095)])
R(via_stack_1_1, Metal3, [(-0.145,-0.145,0.145,0.145)])

sunrise_rdac_ctrl = lib.new_cell('sunrise_rdac_ctrl')
R(sunrise_rdac_ctrl, Metal1_pin, [(0.24,0,0.68,0.44), (0.24,3.78,0.68,4.22)])
A(sunrise_rdac_ctrl, Metal3_pin, 22.27, 14.685, 0.29, 0.29, 1, 6, 0, 0.59)
R(sunrise_rdac_ctrl, Metal3_pin, [(0,18.225,0.29,18.515), (0,19.995,0.29,20.285)])
sunrise_rdac_ctrl.add(gdstk.FlexPath([(19.66,1.69),(21.035,1.69)], 0.16, ends="flush", simple_path=True, layer=8, datatype=0))  # Metal1
sunrise_rdac_ctrl.add(gdstk.FlexPath([(1.83,1.905),(2.415,1.905)], 0.33, ends="flush", simple_path=True, layer=8, datatype=0))  # Metal1
sunrise_rdac_ctrl.add(gdstk.FlexPath([(5.67,1.905),(6.255,1.905)], 0.33, ends="flush", simple_path=True, layer=8, datatype=0))  # Metal1
sunrise_rdac_ctrl.add(gdstk.FlexPath([(10.06,1.69),(11.435,1.69)], 0.16, ends="flush", simple_path=True, layer=8, datatype=0))  # Metal1
sunrise_rdac_ctrl.add(gdstk.FlexPath([(14.86,1.69),(16.235,1.69)], 0.16, ends="flush", simple_path=True, layer=8, datatype=0))  # Metal1
sunrise_rdac_ctrl.add(gdstk.FlexPath([(0.64,1.885),(0.64,18.37)], 0.29, ends="flush", simple_path=True, layer=10, datatype=0))  # Metal2
sunrise_rdac_ctrl.add(gdstk.FlexPath([(1.685,1.885),(1.685,18.96)], 0.29, ends="flush", simple_path=True, layer=10, datatype=0))  # Metal2
sunrise_rdac_ctrl.add(gdstk.FlexPath([(3.605,1.885),(3.605,19.55)], 0.29, ends="flush", simple_path=True, layer=10, datatype=0))  # Metal2
sunrise_rdac_ctrl.add(gdstk.FlexPath([(4.48,1.885),(4.48,20.14)], 0.29, ends="flush", simple_path=True, layer=10, datatype=0))  # Metal2
sunrise_rdac_ctrl.add(gdstk.FlexPath([(5.525,1.885),(5.525,20.73)], 0.29, ends="flush", simple_path=True, layer=10, datatype=0))  # Metal2
sunrise_rdac_ctrl.add(gdstk.FlexPath([(7.445,21.32),(7.445,1.885)], 0.29, ends="flush", simple_path=True, layer=10, datatype=0))  # Metal2
sunrise_rdac_ctrl.add(gdstk.FlexPath([(8.885,1.8),(8.885,19.55)], 0.29, ends="flush", simple_path=True, layer=10, datatype=0))  # Metal2
sunrise_rdac_ctrl.add(gdstk.FlexPath([(9.945,2.095),(9.945,21.32)], 0.29, ends="flush", simple_path=True, layer=10, datatype=0))  # Metal2
sunrise_rdac_ctrl.add(gdstk.FlexPath([(12.245,1.885),(12.245,15.42)], 0.29, ends="flush", simple_path=True, layer=10, datatype=0))  # Metal2
sunrise_rdac_ctrl.add(gdstk.FlexPath([(13.685,1.8),(13.685,18.96)], 0.29, ends="flush", simple_path=True, layer=10, datatype=0))  # Metal2
sunrise_rdac_ctrl.add(gdstk.FlexPath([(14.745,2.095),(14.745,21.32)], 0.29, ends="flush", simple_path=True, layer=10, datatype=0))  # Metal2
sunrise_rdac_ctrl.add(gdstk.FlexPath([(17.045,1.885),(17.045,15.42),(17.045,16.6)], 0.29, ends="flush", simple_path=True, layer=10, datatype=0))  # Metal2
sunrise_rdac_ctrl.add(gdstk.FlexPath([(16.09,1.755),(16.09,16.01)], 0.29, ends="flush", simple_path=True, layer=10, datatype=0))  # Metal2
sunrise_rdac_ctrl.add(gdstk.FlexPath([(18.475,1.8),(18.475,19.55)], 0.29, ends="flush", simple_path=True, layer=10, datatype=0))  # Metal2
sunrise_rdac_ctrl.add(gdstk.FlexPath([(19.545,2.095),(19.545,20.73)], 0.29, ends="flush", simple_path=True, layer=10, datatype=0))  # Metal2
sunrise_rdac_ctrl.add(gdstk.FlexPath([(20.9,1.755),(20.9,17.19)], 0.29, ends="flush", simple_path=True, layer=10, datatype=0))  # Metal2
sunrise_rdac_ctrl.add(gdstk.FlexPath([(21.845,1.885),(21.845,17.78)], 0.29, ends="flush", simple_path=True, layer=10, datatype=0))  # Metal2
sunrise_rdac_ctrl.add(gdstk.FlexPath([(11.29,1.755),(11.29,14.83)], 0.29, ends="flush", simple_path=True, layer=10, datatype=0))  # Metal2
sunrise_rdac_ctrl.add(gdstk.FlexPath([(7.445,21.32),(14.745,21.32)], 0.29, ends="flush", simple_path=True, layer=30, datatype=0))  # Metal3
sunrise_rdac_ctrl.add(gdstk.FlexPath([(4.48,20.14),(0,20.14)], 0.29, ends="flush", simple_path=True, layer=30, datatype=0))  # Metal3
sunrise_rdac_ctrl.add(gdstk.FlexPath([(0.64,18.37),(0,18.37)], 0.29, ends="flush", simple_path=True, layer=30, datatype=0))  # Metal3
sunrise_rdac_ctrl.add(gdstk.FlexPath([(1.685,18.96),(13.685,18.96)], 0.29, ends="flush", simple_path=True, layer=30, datatype=0))  # Metal3
sunrise_rdac_ctrl.add(gdstk.FlexPath([(3.605,19.55),(18.475,19.55)], 0.29, ends="flush", simple_path=True, layer=30, datatype=0))  # Metal3
sunrise_rdac_ctrl.add(gdstk.FlexPath([(5.525,20.73),(19.545,20.73)], 0.29, ends="flush", simple_path=True, layer=30, datatype=0))  # Metal3
sunrise_rdac_ctrl.add(gdstk.FlexPath([(11.29,14.83),(22.56,14.83)], 0.29, ends="flush", simple_path=True, layer=30, datatype=0))  # Metal3
sunrise_rdac_ctrl.add(gdstk.FlexPath([(12.245,15.42),(22.56,15.42)], 0.29, ends="flush", simple_path=True, layer=30, datatype=0))  # Metal3
sunrise_rdac_ctrl.add(gdstk.FlexPath([(16.09,16.01),(22.56,16.01)], 0.29, ends="flush", simple_path=True, layer=30, datatype=0))  # Metal3
sunrise_rdac_ctrl.add(gdstk.FlexPath([(17.045,16.6),(22.56,16.6)], 0.29, ends="flush", simple_path=True, layer=30, datatype=0))  # Metal3
sunrise_rdac_ctrl.add(gdstk.FlexPath([(20.9,17.19),(22.56,17.19)], 0.29, ends="flush", simple_path=True, layer=30, datatype=0))  # Metal3
sunrise_rdac_ctrl.add(gdstk.FlexPath([(21.845,17.78),(22.56,17.78)], 0.29, ends="flush", simple_path=True, layer=30, datatype=0))  # Metal3
sunrise_rdac_ctrl.add(gdstk.Reference(sg13cmos5l_inv_2_7, (0.24,0.22)))
sunrise_rdac_ctrl.add(gdstk.Reference(via_stack_2, (0.64,1.885), rotation=pi/2))
sunrise_rdac_ctrl.add(gdstk.Reference(via_stack_2, (1.685,1.885), rotation=pi/2))
sunrise_rdac_ctrl.add(gdstk.Reference(sg13cmos5l_inv_2_1_2, (2.16,0.22)))
sunrise_rdac_ctrl.add(gdstk.Reference(sg13cmos5l_inv_2_5, (15.6,0.22)))
sunrise_rdac_ctrl.add(gdstk.Reference(via_stack_2, (3.605,1.885), rotation=pi/2))
sunrise_rdac_ctrl.add(gdstk.Reference(sg13cmos5l_inv_2_2_1, (4.08,0.22)))
sunrise_rdac_ctrl.add(gdstk.Reference(via_stack_2, (4.48,1.885), rotation=pi/2))
sunrise_rdac_ctrl.add(gdstk.Reference(via_stack_2, (5.525,1.885), rotation=pi/2))
sunrise_rdac_ctrl.add(gdstk.Reference(sg13cmos5l_inv_2_3_1, (6,0.22)))
sunrise_rdac_ctrl.add(gdstk.Reference(via_stack_2, (7.445,1.885), rotation=pi/2))
sunrise_rdac_ctrl.add(gdstk.Reference(sg13cmos5l_nand2_2_3, (7.92,0.22)))
sunrise_rdac_ctrl.add(gdstk.Reference(sg13cmos5l_inv_2_4, (10.8,0.22)))
sunrise_rdac_ctrl.add(gdstk.Reference(via_stack_2, (8.885,1.8), rotation=pi/2))
sunrise_rdac_ctrl.add(gdstk.Reference(via_stack_2, (9.945,2.095), rotation=pi/2))
sunrise_rdac_ctrl.add(gdstk.Reference(via_stack_2, (11.29,1.755), rotation=pi/2))
sunrise_rdac_ctrl.add(gdstk.Reference(via_stack_2, (12.245,1.885), rotation=pi/2))
sunrise_rdac_ctrl.add(gdstk.Reference(sg13cmos5l_nand2_2_1_1, (12.72,0.22)))
sunrise_rdac_ctrl.add(gdstk.Reference(via_stack_2, (13.685,1.8), rotation=pi/2))
sunrise_rdac_ctrl.add(gdstk.Reference(via_stack_2, (14.745,2.095), rotation=pi/2))
sunrise_rdac_ctrl.add(gdstk.Reference(via_stack_2, (16.09,1.755), rotation=pi/2))
sunrise_rdac_ctrl.add(gdstk.Reference(via_stack_2, (17.045,1.885), rotation=pi/2))
sunrise_rdac_ctrl.add(gdstk.Reference(sg13cmos5l_nand2_2_2, (17.52,0.22)))
sunrise_rdac_ctrl.add(gdstk.Reference(sg13cmos5l_inv_2_6, (20.4,0.22)))
sunrise_rdac_ctrl.add(gdstk.Reference(via_stack_2, (18.475,1.8), rotation=pi/2))
sunrise_rdac_ctrl.add(gdstk.Reference(via_stack_2, (19.545,2.095), rotation=pi/2))
sunrise_rdac_ctrl.add(gdstk.Reference(via_stack_2, (20.9,1.755), rotation=pi/2))
sunrise_rdac_ctrl.add(gdstk.Reference(via_stack_2, (21.845,1.885), rotation=pi/2))
sunrise_rdac_ctrl.add(gdstk.Reference(via_stack_1_1, (21.845,17.78), rotation=pi/2))
sunrise_rdac_ctrl.add(gdstk.Reference(via_stack_1_1, (20.9,17.19), rotation=pi/2))
sunrise_rdac_ctrl.add(gdstk.Reference(via_stack_1_1, (18.475,19.55), rotation=pi/2))
sunrise_rdac_ctrl.add(gdstk.Reference(via_stack_1_1, (19.545,20.73), rotation=pi/2))
sunrise_rdac_ctrl.add(gdstk.Reference(via_stack_1_1, (17.045,16.6), rotation=pi/2))
sunrise_rdac_ctrl.add(gdstk.Reference(via_stack_1_1, (16.09,16.01), rotation=pi/2))
sunrise_rdac_ctrl.add(gdstk.Reference(via_stack_1_1, (14.745,21.32), rotation=pi/2))
sunrise_rdac_ctrl.add(gdstk.Reference(via_stack_1_1, (13.685,18.96), rotation=pi/2))
sunrise_rdac_ctrl.add(gdstk.Reference(via_stack_1_1, (12.245,15.42), rotation=pi/2))
sunrise_rdac_ctrl.add(gdstk.Reference(via_stack_1_1, (11.29,14.83), rotation=pi/2))
sunrise_rdac_ctrl.add(gdstk.Reference(via_stack_1_1, (9.945,21.32), rotation=pi/2))
sunrise_rdac_ctrl.add(gdstk.Reference(via_stack_1_1, (8.885,19.55), rotation=pi/2))
sunrise_rdac_ctrl.add(gdstk.Reference(via_stack_1_1, (7.445,21.32), rotation=pi/2))
sunrise_rdac_ctrl.add(gdstk.Reference(via_stack_1_1, (5.525,20.73), rotation=pi/2))
sunrise_rdac_ctrl.add(gdstk.Reference(via_stack_1_1, (4.48,20.14), rotation=pi/2))
sunrise_rdac_ctrl.add(gdstk.Reference(via_stack_1_1, (3.605,19.55), rotation=pi/2))
sunrise_rdac_ctrl.add(gdstk.Reference(via_stack_1_1, (1.685,18.96), rotation=pi/2))
sunrise_rdac_ctrl.add(gdstk.Reference(via_stack_1_1, (0.64,18.37), rotation=pi/2))
sunrise_rdac_ctrl.add(gdstk.Label('vssa', (0.46,0.22), layer=8, texttype=25))
sunrise_rdac_ctrl.add(gdstk.Label('vdda_lv', (0.46,4), layer=8, texttype=25))
sunrise_rdac_ctrl.add(gdstk.Label('rdac_ctrl_int[1]', (7.65,21.32), layer=30, texttype=0))
sunrise_rdac_ctrl.add(gdstk.Label('rdac_ctrlb_int[1]', (5.77,20.735), layer=30, texttype=0))
sunrise_rdac_ctrl.add(gdstk.Label('rdac_ctrl_int[0]', (3.795,19.555), layer=30, texttype=0))
sunrise_rdac_ctrl.add(gdstk.Label('rdac_ctrlb_int[0]', (1.905,18.96), layer=30, texttype=0))
sunrise_rdac_ctrl.add(gdstk.Label('rdac_ctrl_digin[1]', (0.145,20.14), layer=30, texttype=25))
sunrise_rdac_ctrl.add(gdstk.Label('rdac_ctrl_digin[0]', (0.145,18.37), layer=30, texttype=25))
sunrise_rdac_ctrl.add(gdstk.Label('rdac_ctrlb[2]', (22.415,14.83), layer=30, texttype=25))
sunrise_rdac_ctrl.add(gdstk.Label('rdac_ctrl[2]', (22.415,15.42), layer=30, texttype=25))
sunrise_rdac_ctrl.add(gdstk.Label('rdac_ctrlb[1]', (22.415,16.01), layer=30, texttype=25))
sunrise_rdac_ctrl.add(gdstk.Label('rdac_ctrl[1]', (22.415,16.6), layer=30, texttype=25))
sunrise_rdac_ctrl.add(gdstk.Label('rdac_ctrl[0]', (22.415,17.78), layer=30, texttype=25))
sunrise_rdac_ctrl.add(gdstk.Label('rdac_ctrlb[0]', (22.415,17.19), layer=30, texttype=25))

lib.write_gds('sunrise_rdac_ctrl.gds')
